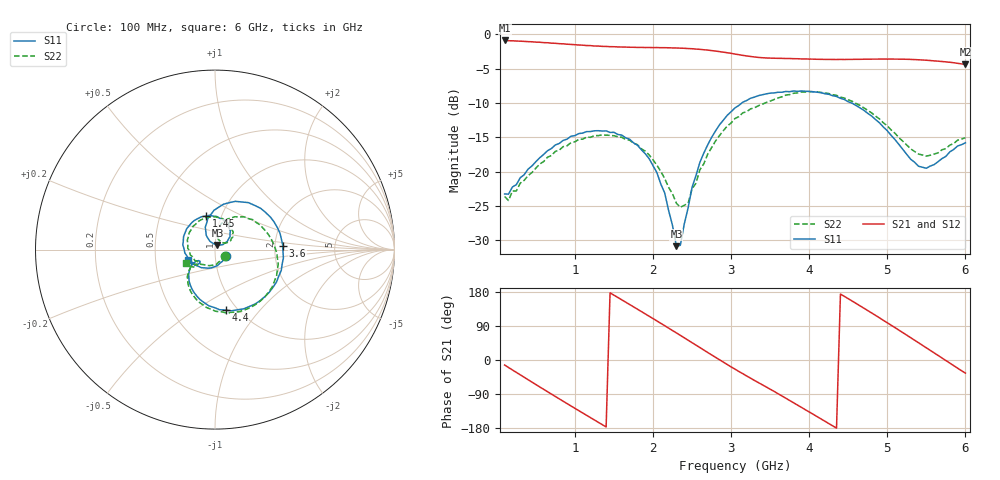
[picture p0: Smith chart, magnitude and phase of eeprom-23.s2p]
! Created with skrf 2.0.0 (http://scikit-rf.org).
# Hz S RI R 50.0
!freq ReS11 ImS11 ReS21 ImS21 ReS12 ImS12 ReS22 ImS22
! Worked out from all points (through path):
!   119 points, 100 MHz to 6 GHz, reference 50 ohm
!   highest |S21| = -0.88 dB at 100 MHz (marker M1); lowest = -4.4 dB at 6 GHz (marker M2)
!   group delay of S21, straight-line fit = 345 ps
!   lowest |S11| = -30.9 dB at 2.3 GHz (marker M3), VSWR 1.06, Z = 51.3 + j2.58 ohm
!   |S11| at or under -10 dB: start of sweep to 3.137 GHz; 4.543 GHz to end of sweep
!   |S22| runs from -25.2 to -8.3 dB; largest |S21 - S12| = 0.0011
!   S11 on the Smith chart (normalised r, x): 100 MHz: 1.12, -0.08; 1.45 GHz: 0.85, +0.33; 3.6 GHz: 2.21, +0.11; 4.4 GHz: 0.88, -0.67; 6 GHz: 0.73, -0.09
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1e8  0.0594 -0.0346  0.88 -0.2073  0.8803 -0.2073  0.057 -0.0331
3.5e8  -0.00149 -0.0948  0.6239 -0.635  0.6235 -0.6355  -0.00851 -0.0859
6e8  -0.098 -0.0906  0.1911 -0.8504  0.1908 -0.8505  -0.0981 -0.0664
8.5e8  -0.1679 -0.019  -0.2765 -0.8083  -0.277 -0.8085  -0.152 0.00865
1.1e9  -0.1678 0.0913  -0.6386 -0.5384  -0.6392 -0.5381  -0.1341 0.1086
1.45e9  -0.0499 0.1865  -0.8135 0.0397  -0.8131 0.0396  -0.0134 0.1833
1.75e9  0.0567 0.152  -0.6212 0.5143  -0.6212 0.5146  0.0779 0.1406
2.1e9  0.0677 0.0448  -0.0943 0.7951  -0.0949 0.7952  0.0872 0.0497
2.3e9  0.0137 0.0251  0.254 0.7552  0.2541 0.7551  0.0445 0.0383
2.35e9  0.00103 0.029  0.3354 0.7203  0.3363 0.7199  0.0366 0.0411
2.45e9  -0.0285 0.0465  0.4848 0.6228  0.4847 0.623  0.0195 0.0556
2.7e9  -0.0459 0.1496  0.7237 0.261  0.7233 0.2612  0.0267 0.1312
3.05e9  0.113 0.2688  0.6568 -0.2934  0.6565 -0.2939  0.1614 0.1829
3.3e9  0.2804 0.2085  0.4014 -0.5549  0.4014 -0.5549  0.2661 0.1207
3.6e9  0.3783 0.0217  0.0145 -0.6698  0.0146 -0.6698  0.344 -0.0179
4.05e9  0.2797 -0.2606  -0.5288 -0.3962  -0.529 -0.3956  0.254 -0.2856
4.4e9  0.0588 -0.3373  -0.6542 0.0687  -0.6543 0.068  0.0387 -0.3473
4.7e9  -0.0992 -0.2617  -0.4806 0.4521  -0.4803 0.4523  -0.1098 -0.2703
5.05e9  -0.1419 -0.1163  -0.0198 0.6613  -0.0197 0.6613  -0.1494 -0.1347
5.3e9  -0.1056 -0.0632  0.3412 0.5624  0.341 0.5623  -0.1202 -0.0837
5.55e9  -0.0839 -0.0709  0.5829 0.2772  0.5826 0.2771  -0.1002 -0.0854
6e9  -0.1514 -0.0583  0.4971 -0.3432  0.4969 -0.3431  -0.1605 -0.0741
